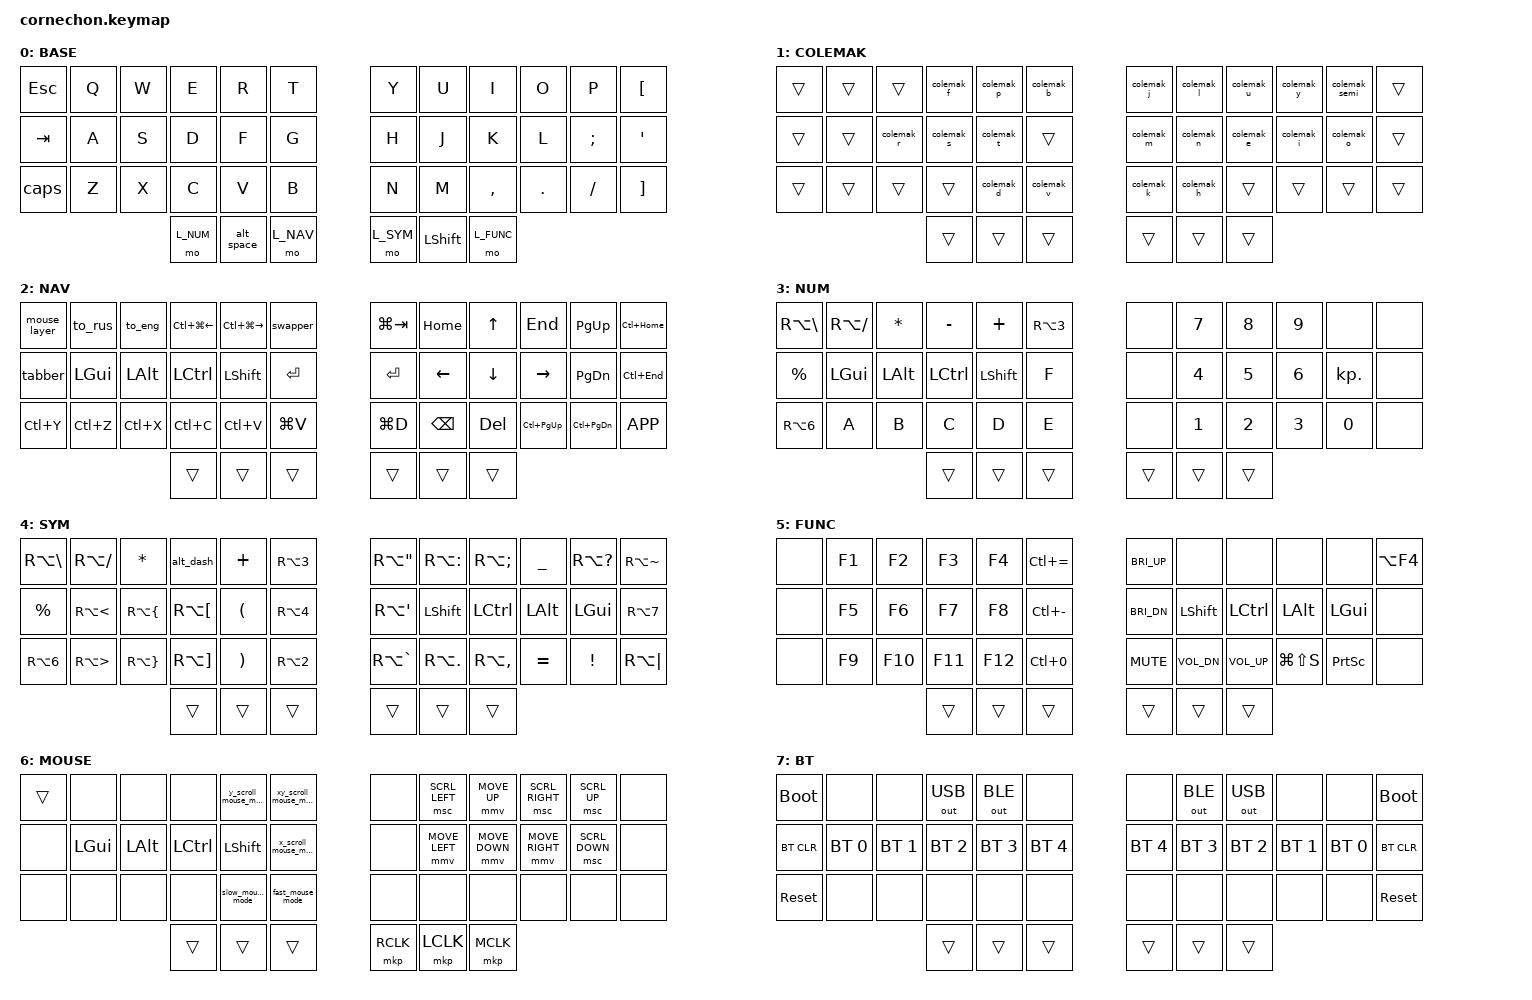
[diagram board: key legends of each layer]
#define ZMK_POINTING_DEFAULT_MOVE_VAL 600  // 600
#define ZMK_POINTING_DEFAULT_SCRL_VAL 20   // 10

#include <behaviors/mouse_keys.dtsi>
#include <dt-bindings/zmk/mouse.h>
#include <behaviors.dtsi>
#include <dt-bindings/zmk/bt.h>
#include <dt-bindings/zmk/keys.h>
#include <dt-bindings/zmk/outputs.h>
#include <dt-bindings/zmk/pointing.h>
#include <behaviors/caps_word_ru.dtsi>

#define COLEMAK_MM(name, X, Y) \
name: name { \
  compatible = "zmk,behavior-mod-morph"; \
  #binding-cells = <0>; \
  bindings = <&kp X>, <&kp Y>; \
  mods = <(MOD_LCTL|MOD_LALT|MOD_LGUI)>; \
  keep-mods = <(MOD_LCTL|MOD_LALT|MOD_LGUI)>; \
};

#define L_BASE    0
#define L_COLEMAK 1
#define L_NAV     2
#define L_NUM     3
#define L_SYM     4
#define L_FUNC    5
#define L_MOUSE   6
#define L_BT      7

&lt { quick-tap-ms = <200>; };

&mt { quick-tap-ms = <200>; };

&mmv {
    acceleration-exponent = <1>;  // 1
    time-to-max-speed-ms = <0>;   // 0
    delay-ms = <0>;
    trigger-period-ms = <8>;      // 16
};

&msc {
    acceleration-exponent = <1>;  // 1
    time-to-max-speed-ms = <0>;   // 0
    delay-ms = <0>;
    trigger-period-ms = <8>;      // 16
};

/ {
    conditional_layers { compatible = "zmk,conditional-layers"; };

    macros {
        to_rus: to_rus {
            compatible = "zmk,behavior-macro";
            #binding-cells = <0>;
            bindings = <&kp LS(LC(N2)) &tog_off L_COLEMAK>;
            label = "TO_RUSSIAN";
        };

        to_qwerty: to_qwerty {
            compatible = "zmk,behavior-macro";
            #binding-cells = <0>;
            bindings = <&kp LS(LC(N1)) &tog_off L_COLEMAK>;
            label = "TO_QWERTY";
        };

        to_colemak: to_colemak {
            compatible = "zmk,behavior-macro";
            #binding-cells = <0>;
            bindings = <&kp LS(LC(N1)) &tog_on L_COLEMAK>;
            label = "TO_COLEMAK";
        };

        slow_mouse_mode: slow_mouse_mode {
            compatible = "zmk,behavior-macro";
            #binding-cells = <0>;
            wait-ms = <0>;
            tap-ms  = <0>;
            bindings = <&macro_tap
                &kt_on F13
                &kt_off F14 &kt_off F15 &kt_off F16
            >;
        };

        fast_mouse_mode: fast_mouse_mode {
            compatible = "zmk,behavior-macro";
            #binding-cells = <0>;
            wait-ms = <0>;
            tap-ms  = <0>;
            bindings = <&macro_tap
                &kt_on F14
                &kt_off F13 &kt_off F15 &kt_off F16
            >;
        };

        x_scroll_mouse_mode: x_scroll_mouse_mode {
            compatible = "zmk,behavior-macro";
            #binding-cells = <0>;
            wait-ms = <0>;
            tap-ms  = <0>;
            bindings = <&macro_tap
                &kt_on F15
                &kt_off F13 &kt_off F14 &kt_off F16
            >;
        };

        y_scroll_mouse_mode: y_scroll_mouse_mode {
            compatible = "zmk,behavior-macro";
            #binding-cells = <0>;
            wait-ms = <0>;
            tap-ms  = <0>;
            bindings = <&macro_tap
                &kt_on F16
                &kt_off F13 &kt_off F14 &kt_off F15
            >;
        };

        xy_scroll_mouse_mode: xy_scroll_mouse_mode {
            compatible = "zmk,behavior-macro";
            #binding-cells = <0>;
            wait-ms = <0>;
            tap-ms  = <0>;
            bindings = <&macro_tap
                &kt_on F15 &kt_on F16
                &kt_off F13 &kt_off F14
            >;
        };

        mouse_mode_reset: mouse_mode_reset {
            compatible = "zmk,behavior-macro";
            #binding-cells = <0>;
            wait-ms = <0>;
            tap-ms  = <0>;
            bindings = <&macro_tap
                &kt_off F13 &kt_off F14 &kt_off F15 &kt_off F16
            >;
        };

        mouse_layer_off: mouse_layer_off {
            compatible = "zmk,behavior-macro";
            #binding-cells = <0>;
            wait-ms = <0>;
            tap-ms  = <0>;
            bindings = <&macro_tap &mouse_mode_reset &tog_off L_MOUSE>;
        };
    };

    combos {
        compatible = "zmk,combos";

        bt_left_combo {
            bindings = <&mo L_BT>;
            key-positions = <36 37 38>;
        };

        bt_right_combo {
            bindings = <&mo L_BT>;
            key-positions = <39 40 41>;
        };
    };

    behaviors {
        swapper: swapper {
            compatible = "zmk,behavior-tri-state";
            label = "SWAPPER";
            #binding-cells = <0>;
            bindings = <&kt LALT>, <&kp TAB>, <&kt LALT>;

            ignored-key-positions = <
                /*** ## ## ## ## ## ##    ## ## ## ## ## ## ***/
                /**/                             8          /**/
                /**/                         19 20 21       /**/
                /**/                                        /**/
                /**/                         40             /**/
                /*** ## ## ## ## ## ##    ## ## ## ## ## ## ***/

            >;
        };

        tabber: tabber {
            compatible = "zmk,behavior-tri-state";
            label = "TABBER";
            #binding-cells = <0>;
            bindings = <&kt LCTRL>, <&kp TAB>, <&kt LCTRL>;

            ignored-key-positions = <
                /*** ## ## ## ## ## ##    ## ## ## ## ## ## ***/
                /**/                             8          /**/
                /**/             16          19 20 21       /**/
                /**/                                        /**/
                /**/                         40             /**/
                /*** ## ## ## ## ## ##    ## ## ## ## ## ## ***/
            >;
        };

        mouse_layer: mouse_layer {
            compatible = "zmk,behavior-tri-state";
            label = "MOUSE_LAYER";
            #binding-cells = <0>;
            bindings = <&tog_on L_MOUSE>, <&mouse_mode_reset>, <&mouse_layer_off>;

            ignored-layers = <L_MOUSE>;
            ignored-key-positions = <
                /*** ## ## ## ## ## ##    ## ## ## ## ## ## ***/
                /**/              4  5        7  8  9 10    /**/
                /**/    13 14 15 16 17       19 20 21 22    /**/
                /**/             28 29                      /**/
                /**/                      39 40 41          /**/
                /*** ## ## ## ## ## ##    ## ## ## ## ## ## ***/
            >;
        };

        alt_space: alt_space {
            compatible = "zmk,behavior-mod-morph";
            #binding-cells = <0>;
            bindings = <&kp SPACE>, <&kp RA(SPACE)>;

            mods = <(MOD_LALT|MOD_LCTL)>;
            label = "ALT_SPACE";
        };

        alt_dash: alt_dash {
            compatible = "zmk,behavior-mod-morph";
            #binding-cells = <0>;
            bindings = <&kp MINUS>, <&kp RA(MINUS)>;

            mods = <(MOD_LSFT)>;
            label = "ALT_DASH";
        };

        caps: caps {
            compatible = "zmk,behavior-mod-morph";
            label = "CAPS";
            bindings = <&caps_word_ru>, <&kp CAPS>;

            #binding-cells = <0>;
            mods = <(MOD_LSFT)>;
        };

        kt_on: key_toggle_on_only {
            compatible = "zmk,behavior-key-toggle";
            #binding-cells = <1>;
            toggle-mode = "on";
        };

        kt_off: key_toggle_off_only {
            compatible = "zmk,behavior-key-toggle";
            #binding-cells = <1>;
            toggle-mode = "off";
        };

        tog_on: layer_toggle_on_only {
            compatible = "zmk,behavior-toggle-layer";
            #binding-cells = <1>;
            toggle-mode = "on";
        };

        tog_off: layer_toggle_off_only {
            compatible = "zmk,behavior-toggle-layer";
            #binding-cells = <1>;
            toggle-mode = "off";
        };

        // Colemak Mod-DH
        to_eng: to_eng {
            compatible = "zmk,behavior-mod-morph";
            bindings = <&to_qwerty>, <&to_colemak>;

            #binding-cells = <0>;
            mods = <MOD_LSFT>;
        };

        COLEMAK_MM(colemak_f, F, E)
        COLEMAK_MM(colemak_p, P, R)
        COLEMAK_MM(colemak_b, B, T)
        COLEMAK_MM(colemak_r, R, S)
        COLEMAK_MM(colemak_s, S, D)
        COLEMAK_MM(colemak_t, T, F)
        COLEMAK_MM(colemak_d, D, V)
        COLEMAK_MM(colemak_v, V, B)
        COLEMAK_MM(colemak_j, J, Y)
        COLEMAK_MM(colemak_l, L, U)
        COLEMAK_MM(colemak_u, U, I)
        COLEMAK_MM(colemak_y, Y, O)
        COLEMAK_MM(colemak_semi, SEMI, P)
        COLEMAK_MM(colemak_m, M, H)
        COLEMAK_MM(colemak_n, N, J)
        COLEMAK_MM(colemak_e, E, K)
        COLEMAK_MM(colemak_i, I, L)
        COLEMAK_MM(colemak_o, O, SEMI)
        COLEMAK_MM(colemak_k, K, N)
        COLEMAK_MM(colemak_h, H, M)
    };

    keymap {
        compatible = "zmk,keymap";

        BASE {
            bindings = <
&kp ESC  &kp Q  &kp W  &kp E      &kp R       &kp T       &kp Y      &kp U      &kp I       &kp O    &kp P     &kp LBKT
&kp TAB  &kp A  &kp S  &kp D      &kp F       &kp G       &kp H      &kp J      &kp K       &kp L    &kp SEMI  &kp SQT
&caps    &kp Z  &kp X  &kp C      &kp V       &kp B       &kp N      &kp M      &kp COMMA   &kp DOT  &kp FSLH  &kp RBKT
                       &mo L_NUM  &alt_space  &mo L_NAV   &mo L_SYM  &kp LSHFT  &mo L_FUNC
            >;
        };

        COLEMAK {
            bindings = <
&trans  &trans  &trans      &colemak_f  &colemak_p  &colemak_b  &colemak_j  &colemak_l  &colemak_u  &colemak_y  &colemak_semi  &trans
&trans  &trans  &colemak_r  &colemak_s  &colemak_t  &trans      &colemak_m  &colemak_n  &colemak_e  &colemak_i  &colemak_o    &trans
&trans  &trans  &trans      &trans      &colemak_d  &colemak_v  &colemak_k  &colemak_h  &trans      &trans      &trans        &trans
                            &trans      &trans      &trans      &trans      &trans      &trans
            >;
        };

        NAV {
            bindings = <
&mouse_layer  &to_rus    &to_eng    &kp LC(LG(LEFT))  &kp LC(LG(RIGHT))  &swapper   &kp LG(TAB)  &kp HOME  &kp UP    &kp END        &kp PG_UP      &kp LC(HOME)
&tabber       &kp LGUI   &kp LALT   &kp LCTRL         &kp LSHFT          &kp RET    &kp RET      &kp LEFT  &kp DOWN  &kp RIGHT      &kp PG_DN      &kp LC(END)
&kp LC(Y)     &kp LC(Z)  &kp LC(X)  &kp LC(C)         &kp LC(V)          &kp LG(V)  &kp LG(D)    &kp BSPC  &kp DEL   &kp LC(PG_UP)  &kp LC(PG_DN)  &kp K_APP
                                    &trans            &trans             &trans     &trans       &trans    &trans
            >;
        };

        NUM {
            bindings = <
&kp RA(BACKSLASH)  &kp RA(SLASH)  &kp ASTRK  &kp MINUS  &kp PLUS   &kp RA(N3)  &none   &kp N7  &kp N8  &kp N9  &none       &none
&kp PERCENT        &kp LGUI       &kp LALT   &kp LCTRL  &kp LSHFT  &kp F       &none   &kp N4  &kp N5  &kp N6  &kp KP_DOT  &none
&kp RA(N6)         &kp A          &kp B      &kp C      &kp D      &kp E       &none   &kp N1  &kp N2  &kp N3  &kp N0      &none
                                             &trans     &trans     &trans      &trans  &trans  &trans
            >;
        };

        SYM {
            bindings = <
&kp RA(BACKSLASH)  &kp RA(SLASH)         &kp ASTRK            &alt_dash              &kp PLUS  &kp RA(N3)  &kp RA(DOUBLE_QUOTES)  &kp RA(COLON)  &kp RA(SEMICOLON)  &kp UNDERSCORE  &kp RA(QUESTION)  &kp RA(TILDE)
&kp PERCENT        &kp RA(LESS_THAN)     &kp RA(LEFT_BRACE)   &kp RA(LEFT_BRACKET)   &kp LPAR  &kp RA(N4)  &kp RA(SINGLE_QUOTE)   &kp LSHFT      &kp LCTRL          &kp LALT        &kp LGUI          &kp RA(N7)
&kp RA(N6)         &kp RA(GREATER_THAN)  &kp RA(RIGHT_BRACE)  &kp RA(RIGHT_BRACKET)  &kp RPAR  &kp RA(N2)  &kp RA(GRAVE)          &kp RA(DOT)    &kp RA(COMMA)      &kp EQUAL       &kp EXCL          &kp RA(PIPE)
                                                              &trans                 &trans    &trans      &trans                 &trans         &trans
            >;
        };

        FUNC {
            bindings = <
&none  &kp F1  &kp F2   &kp F3   &kp F4   &kp LC(EQUAL)  &kp C_BRI_UP  &none         &none         &none          &none      &kp LA(F4)
&none  &kp F5  &kp F6   &kp F7   &kp F8   &kp LC(MINUS)  &kp C_BRI_DN  &kp LSHFT     &kp LCTRL     &kp LALT       &kp LGUI   &none
&none  &kp F9  &kp F10  &kp F11  &kp F12  &kp LC(N0)     &kp C_MUTE    &kp C_VOL_DN  &kp C_VOL_UP  &kp LG(LS(S))  &kp PSCRN  &none
                        &trans   &trans   &trans         &trans        &trans        &trans
            >;
        };

        MOUSE {
            bindings = <
&trans  &none     &none     &none      &y_scroll_mouse_mode  &xy_scroll_mouse_mode   &none      &msc SCRL_LEFT  &mmv MOVE_UP    &msc SCRL_RIGHT  &msc SCRL_UP    &none
&none   &kp LGUI  &kp LALT  &kp LCTRL  &kp LSHFT             &x_scroll_mouse_mode    &none      &mmv MOVE_LEFT  &mmv MOVE_DOWN  &mmv MOVE_RIGHT  &msc SCRL_DOWN  &none
&none   &none     &none     &none      &slow_mouse_mode      &fast_mouse_mode        &none      &none           &none           &none            &none           &none
                            &trans     &trans                &trans                  &mkp RCLK  &mkp LCLK       &mkp MCLK
            >;
        };

        BT {
            bindings = <
&bootloader  &none         &none         &out OUT_USB  &out OUT_BLE  &none         &none         &out OUT_BLE  &out OUT_USB  &none         &none         &bootloader
&bt BT_CLR   &bt BT_SEL 0  &bt BT_SEL 1  &bt BT_SEL 2  &bt BT_SEL 3  &bt BT_SEL 4  &bt BT_SEL 4  &bt BT_SEL 3  &bt BT_SEL 2  &bt BT_SEL 1  &bt BT_SEL 0  &bt BT_CLR
&sys_reset   &none         &none         &none         &none         &none         &none         &none         &none         &none         &none         &sys_reset
                                         &trans        &trans        &trans        &trans        &trans        &trans
            >;
        };
    };
};
